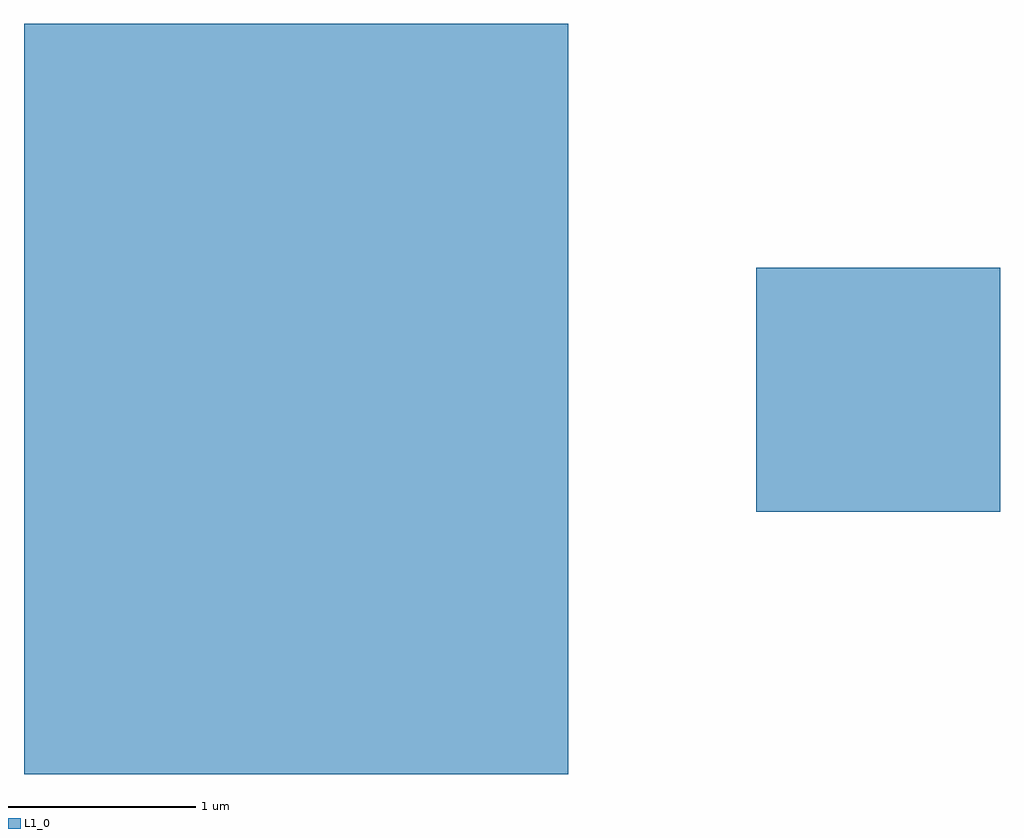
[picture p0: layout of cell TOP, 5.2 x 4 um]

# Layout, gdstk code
import gdstk
lib = gdstk.Library(unit=1e-6, precision=1e-09)
def R(c, l, rs):  # rectangles x0, y0, x1, y1
    for r in rs: c.add(gdstk.rectangle(r[:2], r[2:], *l))
L1_0 = (1, 0)
L100_0 = (100, 0)

top = lib.new_cell('TOP')
R(top, L1_0, [(0.6,0.3,2.4,2.2), (1.8,0.3,3,2.2), (2.6,0.3,3.5,2.2), (0.6,1.5,3.5,3.5), (4.5,1.7,5.8,3), (0.6,3.1,2.8,4.3), (2,3.1,3.5,4.3)])
top.add(gdstk.FlexPath([(2.6,2.2),(3.5,2.2)], 0, ends="flush", simple_path=True, layer=100, datatype=0))  # L100_0
top.add(gdstk.FlexPath([(3.5,2.2),(3.5,0.3)], 0, ends="flush", simple_path=True, layer=100, datatype=0))  # L100_0
top.add(gdstk.FlexPath([(1.8,2.2),(3,2.2)], 0, ends="flush", simple_path=True, layer=100, datatype=0))  # L100_0
top.add(gdstk.FlexPath([(3,0.3),(1.8,0.3)], 0, ends="flush", simple_path=True, layer=100, datatype=0))  # L100_0
top.add(gdstk.FlexPath([(0.6,3.5),(3.5,3.5)], 0, ends="flush", simple_path=True, layer=100, datatype=0))  # L100_0
top.add(gdstk.FlexPath([(3.5,3.5),(3.5,1.5)], 0, ends="flush", simple_path=True, layer=100, datatype=0))  # L100_0
top.add(gdstk.FlexPath([(4.5,1.7),(4.5,3)], 0, ends="flush", simple_path=True, layer=100, datatype=0))  # L100_0
top.add(gdstk.FlexPath([(5.8,1.7),(4.5,1.7)], 0, ends="flush", simple_path=True, layer=100, datatype=0))  # L100_0
top.add(gdstk.FlexPath([(3.5,0.3),(2.6,0.3)], 0, ends="flush", simple_path=True, layer=100, datatype=0))  # L100_0
top.add(gdstk.FlexPath([(5.8,3),(5.8,1.7)], 0, ends="flush", simple_path=True, layer=100, datatype=0))  # L100_0
top.add(gdstk.FlexPath([(4.5,3),(5.8,3)], 0, ends="flush", simple_path=True, layer=100, datatype=0))  # L100_0
top.add(gdstk.FlexPath([(0.6,3.1),(0.6,4.3)], 0, ends="flush", simple_path=True, layer=100, datatype=0))  # L100_0
top.add(gdstk.FlexPath([(2.8,3.1),(0.6,3.1)], 0, ends="flush", simple_path=True, layer=100, datatype=0))  # L100_0
top.add(gdstk.FlexPath([(0.6,1.5),(0.6,3.5)], 0, ends="flush", simple_path=True, layer=100, datatype=0))  # L100_0
top.add(gdstk.FlexPath([(2.4,0.3),(0.6,0.3)], 0, ends="flush", simple_path=True, layer=100, datatype=0))  # L100_0
top.add(gdstk.FlexPath([(3.5,1.5),(2.4,1.5)], 0, ends="flush", simple_path=True, layer=100, datatype=0))  # L100_0
top.add(gdstk.FlexPath([(0.6,4.3),(2.8,4.3)], 0, ends="flush", simple_path=True, layer=100, datatype=0))  # L100_0
top.add(gdstk.FlexPath([(3.5,3.1),(2,3.1)], 0, ends="flush", simple_path=True, layer=100, datatype=0))  # L100_0
top.add(gdstk.FlexPath([(3.5,4.3),(3.5,3.1)], 0, ends="flush", simple_path=True, layer=100, datatype=0))  # L100_0
top.add(gdstk.FlexPath([(0.6,0.3),(0.6,2.2)], 0, ends="flush", simple_path=True, layer=100, datatype=0))  # L100_0
top.add(gdstk.FlexPath([(1.8,0.3),(1.8,2.2)], 0, ends="flush", simple_path=True, layer=100, datatype=0))  # L100_0
top.add(gdstk.FlexPath([(2.4,1.5),(2.4,0.3)], 0, ends="flush", simple_path=True, layer=100, datatype=0))  # L100_0
top.add(gdstk.FlexPath([(2,4.3),(3.5,4.3)], 0, ends="flush", simple_path=True, layer=100, datatype=0))  # L100_0

lib.write_gds('TOP.gds')
